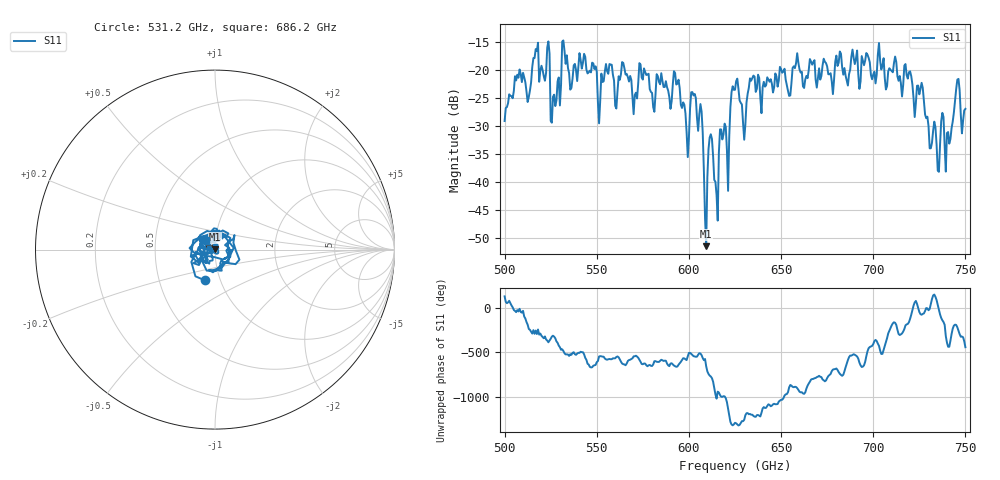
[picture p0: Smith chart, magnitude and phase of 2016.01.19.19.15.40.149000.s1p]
!Created with skrf (http://scikit-rf.org).
# GHz S RI R 50.0
!freq ReS11 ImS11
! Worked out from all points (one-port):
!   401 points, 500 GHz to 750 GHz, reference 50 ohm
!   lowest |S11| = -51.4 dB at 609.4 GHz (marker M1), VSWR 1.01, Z = 50.1 + j0.237 ohm
!   |S11| at or under -10 dB: start of sweep to end of sweep
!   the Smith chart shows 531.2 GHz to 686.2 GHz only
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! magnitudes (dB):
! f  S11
! 500 GHz  -29.0
! 506.9 GHz  -20.8
! 513.1 GHz  -24.8
! 516.9 GHz  -16.2
! 523.1 GHz  -15.9
! 526.2 GHz  -24.7
! 531.2 GHz  -14.9
! 551.9 GHz  -25.4
! 562.5 GHz  -21.7
! 593.8 GHz  -22.4
! 598.8 GHz  -31.1
! 602.5 GHz  -24.5
! 606.2 GHz  -26.0
! 609.4 GHz  -51.4
! 611.2 GHz  -32.0
! 615 GHz  -42.3
! 617.5 GHz  -30.6
! 621.2 GHz  -41.5
! 625 GHz  -23.5
! 630 GHz  -32.4
! 634.4 GHz  -21.4
! 656.2 GHz  -19.6
! 687.5 GHz  -19.9
! 718.8 GHz  -21.5
! 735 GHz  -37.9
! 740.6 GHz  -31.0
! 745.6 GHz  -21.7
! 750 GHz  -26.9
